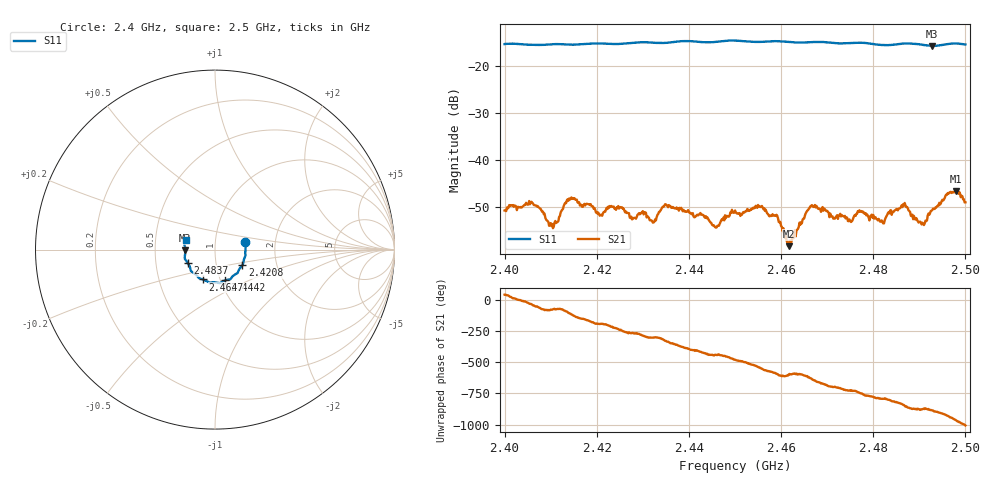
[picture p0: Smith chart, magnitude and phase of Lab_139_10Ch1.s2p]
# Hz S RI R 50
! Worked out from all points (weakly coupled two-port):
!   601 points, 2.4 GHz to 2.5 GHz, reference 50 ohm
!   highest |S21| = -46.59 dB at 2.498 GHz (marker M1); lowest = -58.2 dB at 2.4617 GHz (marker M2)
!   lowest |S11| = -15.6 dB at 2.4928 GHz (marker M3), VSWR 1.40, Z = 35.8 - j0.365 ohm
!   |S11| at or under -10 dB: start of sweep to end of sweep
!   S12 and S22 are empty: the file has one direction only
!   S11 on the Smith chart (normalised r, x): 2.4 GHz: 1.40, +0.12; 2.4208 GHz: 1.33, -0.24; 2.4442 GHz: 1.05, -0.37; 2.4647 GHz: 0.83, -0.29; 2.4837 GHz: 0.73, -0.11; 2.5 GHz: 0.72, +0.08
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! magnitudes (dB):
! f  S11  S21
! 2.4 GHz  -15.2  -50.6
! 2.4058 GHz  -15.4  -48.8
! 2.4102 GHz  -15.3  -54.0
! 2.414 GHz  -15.4  -48.1
! 2.4167 GHz  -15.3  -49.4
! 2.4208 GHz  -15.1  -51.6
! 2.4333 GHz  -15.0  -51.4
! 2.4442 GHz  -14.9  -52.4
! 2.45 GHz  -14.5  -50.6
! 2.4558 GHz  -14.8  -49.7
! 2.4593 GHz  -14.6  -52.3
! 2.4617 GHz  -14.8  -58.2
! 2.4647 GHz  -14.9  -52.6
! 2.4667 GHz  -14.8  -49.5
! 2.475 GHz  -15.0  -52.9
! 2.4833 GHz  -15.5  -51.0
! 2.4837 GHz  -15.4  -50.7
! 2.487 GHz  -15.1  -49.6
! 2.4907 GHz  -15.4  -53.2
! 2.4928 GHz  -15.6  -50.5
! 2.498 GHz  -15.1  -46.6
! 2.5 GHz  -15.3  -48.9
